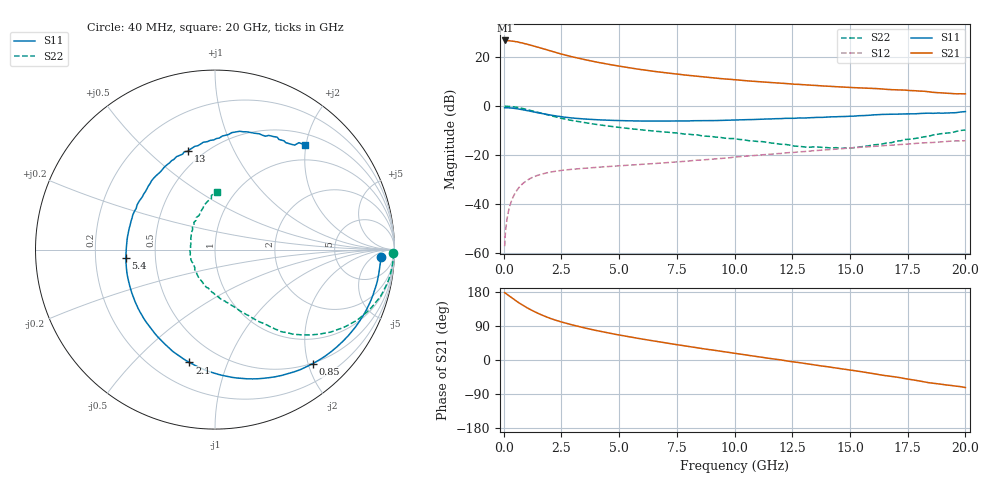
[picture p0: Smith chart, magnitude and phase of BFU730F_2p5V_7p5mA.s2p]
! Filename:  P:\Prog\Test\Noise\ATS_data\Testdata_Net\Split files Spar\BFU730_2W_B1_Bias5_2.5V_1mA_25mA_D.s2p
! Date/Time: Fri 29/Apr/2011 15:08:25
! BFU730_2W_B1_Bias5_2.5V_1mA_25mA_R.s2p
! MDIF S-parameter v. bias file
! BFU730_2W_B1_2.5V_1mA_25mA
! Date/time Thu Mar 17 13:38:09 2011
! VAR V_out= 2.5000
! VAR I_out= 7.5600
! VAR V_in= 0.7941
! VAR I_in= 0.0222
! Device data file deembeded for feedlines and parallel
! Original file: \Split files Spar\BFU730_2W_B1_Bias5_2.5V_1mA_25mA_R.s2p
! Feed-files: PR003V01_101208_Feed1.s2p, PR003V01_101208_Feed2.s2p
! Parallel-file: PR003V01_101208_Par.s2p
# MHz S MA R 50
!  Freq-MHz  S11-mag  S11-arg  S21-mag  S21-arg  S12-mag  S12-arg  S22-mag  S22-arg
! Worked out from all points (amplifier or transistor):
!   167 points, 40 MHz to 20 GHz, reference 50 ohm
!   highest |S21| = 26.8 dB at 50 MHz (marker M1)
!   |S21| within 3 dB of that: start of sweep to 1.569 GHz
!   unconditionally stable (mu >= 1): 6.162 GHz to 15.85 GHz
!   at 550 MHz: K = 0.10, MSG = 30.5 dB, |S12| = -34.8 dB
!   at 4.2 GHz: K = 0.75, MSG = 21.3 dB, |S12| = -25.0 dB
!   at 20 GHz: K = 0.82, MSG = 9.6 dB, |S12| = -14.2 dB
!   S11 on the Smith chart (normalised r, x): 40 MHz: 20, -11; 850 MHz: 0.49, -2.07; 2.1 GHz: 0.34, -0.74; 5.4 GHz: 0.34, -0.04; 13 GHz: 0.42, +0.67; 20 GHz: 0.69, +1.99
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40  0.9244 -2.4  21.89 178.0  0.001361 74.4  0.9933 -1.1
50  0.9254 -3.0  21.94 177.1  0.001468 88.0  0.9928 -1.5
60  0.9245 -3.6  21.68 176.8  0.002073 84.3  0.9942 -1.8
80  0.924 -4.8  21.87 176.2  0.002682 81.8  0.9942 -2.5
240  0.9169 -14.5  21.7 168.9  0.008181 81.1  0.9868 -7.9
420  0.9003 -25.4  21.21 160.9  0.01423 76.0  0.9665 -13.8
600  0.876 -35.9  20.53 153.2  0.01978 70.5  0.9353 -19.4
850  0.8365 -49.5  19.23 143.6  0.02653 63.2  0.8843 -26.4
1150  0.7842 -64.6  17.7 133.3  0.03295 56.1  0.8133 -33.3
1400  0.7416 -76.1  16.4 125.6  0.03722 51.0  0.7576 -38.2
1750  0.6884 -90.3  14.66 116.2  0.04178 45.3  0.6863 -43.8
2100  0.6448 -102.8  13.09 108.1  0.04515 40.9  0.6237 -48.4
2700  0.5871 -121.0  10.93 96.9  0.04951 35.4  0.5347 -54.1
3400  0.5471 -138.1  9.139 86.2  0.05291 31.6  0.4679 -58.8
4400  0.5147 -158.2  7.34 73.0  0.05739 28.3  0.3979 -64.6
5400  0.4988 -174.8  6.099 61.6  0.06167 26.1  0.3487 -70.0
6800  0.4925 166.2  4.925 47.3  0.06811 24.2  0.299 -78.0
10200  0.5246 130.4  3.393 15.8  0.09194 18.3  0.2073 -105.7
13000  0.5689 105.5  2.728 -8.7  0.1169 8.5  0.1466 -143.6
13400  0.5794 102.8  2.652 -12.3  0.1218 6.7  0.1458 -152.4
16800  0.68 74.8  2.162 -43.2  0.1584 -10.3  0.1781 130.7
20000  0.7699 49.2  1.773 -72.8  0.1953 -31.2  0.3237 88.2
